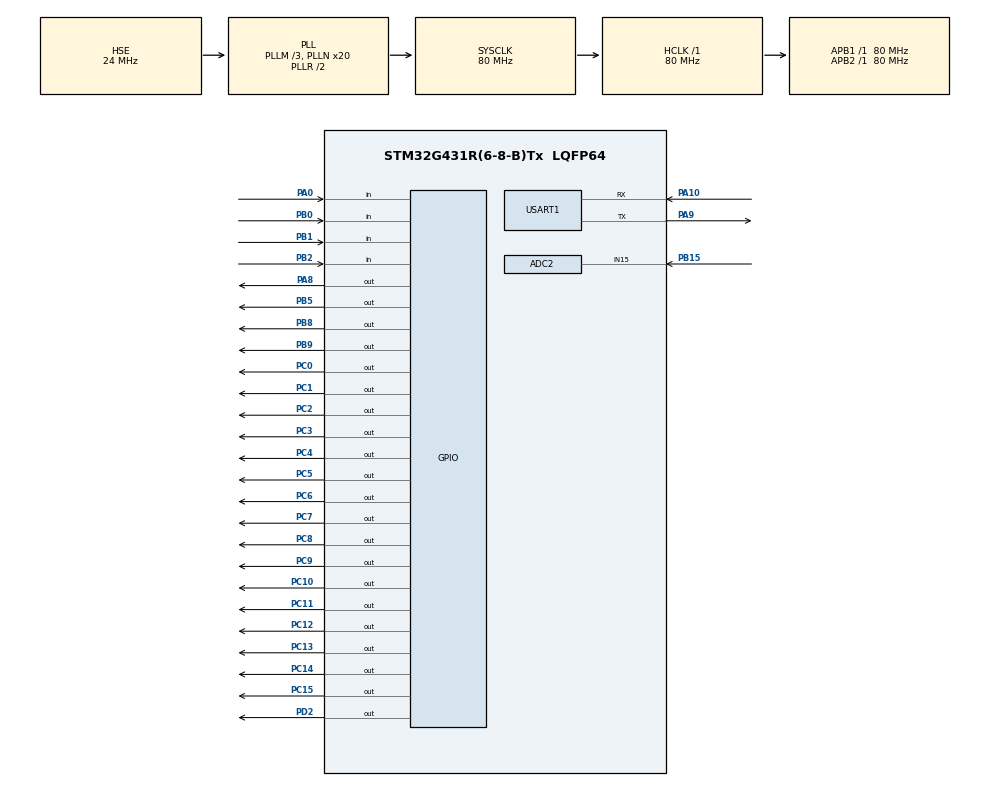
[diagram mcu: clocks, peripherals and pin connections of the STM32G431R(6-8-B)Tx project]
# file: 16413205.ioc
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ADC2.Channel-0\#ChannelRegularConversion=ADC_CHANNEL_15
ADC2.NbrOfConversionFlag=1
ADC2.OffsetNumber-0\#ChannelRegularConversion=ADC_OFFSET_NONE
ADC2.Rank-0\#ChannelRegularConversion=1
ADC2.SamplingTime-0\#ChannelRegularConversion=ADC_SAMPLETIME_640CYCLES_5
Dma.Request0=USART1_RX
Dma.Request1=USART1_TX
Dma.USART1_RX.0.Direction=DMA_PERIPH_TO_MEMORY
Dma.USART1_RX.0.EventEnable=DISABLE
Dma.USART1_RX.0.Instance=DMA1_Channel1
Dma.USART1_RX.0.MemDataAlignment=DMA_MDATAALIGN_BYTE
Dma.USART1_RX.0.MemInc=DMA_MINC_ENABLE
Dma.USART1_RX.0.Mode=DMA_NORMAL
Dma.USART1_RX.0.PeriphDataAlignment=DMA_PDATAALIGN_BYTE
Dma.USART1_RX.0.PeriphInc=DMA_PINC_DISABLE
Dma.USART1_RX.0.Polarity=HAL_DMAMUX_REQ_GEN_RISING
Dma.USART1_RX.0.Priority=DMA_PRIORITY_LOW
Dma.USART1_RX.0.RequestNumber=1
Dma.USART1_RX.0.SignalID=NONE
Dma.USART1_RX.0.SyncEnable=DISABLE
Dma.USART1_RX.0.SyncPolarity=HAL_DMAMUX_SYNC_NO_EVENT
Dma.USART1_RX.0.SyncRequestNumber=1
Dma.USART1_RX.0.SyncSignalID=NONE
Dma.USART1_TX.1.Direction=DMA_MEMORY_TO_PERIPH
Dma.USART1_TX.1.EventEnable=DISABLE
Dma.USART1_TX.1.Instance=DMA1_Channel2
Dma.USART1_TX.1.MemDataAlignment=DMA_MDATAALIGN_BYTE
Dma.USART1_TX.1.MemInc=DMA_MINC_ENABLE
Dma.USART1_TX.1.Mode=DMA_NORMAL
Dma.USART1_TX.1.PeriphDataAlignment=DMA_PDATAALIGN_BYTE
Dma.USART1_TX.1.PeriphInc=DMA_PINC_DISABLE
Dma.USART1_TX.1.Polarity=HAL_DMAMUX_REQ_GEN_RISING
Dma.USART1_TX.1.Priority=DMA_PRIORITY_LOW
Dma.USART1_TX.1.RequestNumber=1
Dma.USART1_TX.1.SignalID=NONE
Dma.USART1_TX.1.SyncEnable=DISABLE
Dma.USART1_TX.1.SyncPolarity=HAL_DMAMUX_SYNC_NO_EVENT
Dma.USART1_TX.1.SyncRequestNumber=1
Dma.USART1_TX.1.SyncSignalID=NONE
Mcu.Family=STM32G4
Mcu.Name=STM32G431R(6-8-B)Tx
Mcu.Package=LQFP64
NVIC.DMA1_Channel1_IRQn=true\:0\:0\:false\:false\:true\:false\:true\:true
NVIC.DMA1_Channel2_IRQn=true\:0\:0\:false\:false\:true\:false\:true\:true
NVIC.PriorityGroup=NVIC_PRIORITYGROUP_4
NVIC.TIM6_DAC_IRQn=true\:0\:0\:false\:false\:true\:true\:true\:true
NVIC.USART1_IRQn=true\:0\:0\:false\:false\:true\:true\:true\:true
PA0.GPIO_PuPd=GPIO_PULLUP
PA0.Signal=GPIO_Input
PA10.Mode=Asynchronous
PA10.Signal=USART1_RX
PA13.Mode=Serial_Wire
PA13.Signal=SYS_JTMS-SWDIO
PA14.Mode=Serial_Wire
PA14.Signal=SYS_JTCK-SWCLK
PA8.Signal=GPIO_Output
PA9.Mode=Asynchronous
PA9.Signal=USART1_TX
PB0.GPIO_PuPd=GPIO_PULLUP
PB0.Signal=GPIO_Input
PB1.GPIO_PuPd=GPIO_PULLUP
PB1.Signal=GPIO_Input
PB15.Mode=IN15-Single-Ended
PB15.Signal=ADC2_IN15
PB2.GPIO_PuPd=GPIO_PULLUP
PB2.Signal=GPIO_Input
PB5.Signal=GPIO_Output
PB8-BOOT0.Signal=GPIO_Output
PB9.Signal=GPIO_Output
PC0.Signal=GPIO_Output
PC1.Signal=GPIO_Output
PC10.Signal=GPIO_Output
PC11.Signal=GPIO_Output
PC12.Signal=GPIO_Output
PC13.Signal=GPIO_Output
PC14-OSC32_IN.Signal=GPIO_Output
PC15-OSC32_OUT.Signal=GPIO_Output
PC2.Signal=GPIO_Output
PC3.Signal=GPIO_Output
PC4.Signal=GPIO_Output
PC5.Signal=GPIO_Output
PC6.Signal=GPIO_Output
PC7.Signal=GPIO_Output
PC8.Signal=GPIO_Output
PC9.Signal=GPIO_Output
PD2.Signal=GPIO_Output
PF0-OSC_IN.Mode=HSE-External-Oscillator
PF0-OSC_IN.Signal=RCC_OSC_IN
PF1-OSC_OUT.Mode=HSE-External-Oscillator
PF1-OSC_OUT.Signal=RCC_OSC_OUT
ProjectManager.HeapSize=0x200
ProjectManager.StackSize=0x400
ProjectManager.TargetToolchain=MDK-ARM V5.32
RCC.ADC12Freq_Value=80000000
RCC.AHBFreq_Value=80000000
RCC.APB1Freq_Value=80000000
RCC.APB1TimFreq_Value=80000000
RCC.APB2Freq_Value=80000000
RCC.APB2TimFreq_Value=80000000
RCC.CortexFreq_Value=80000000
RCC.EXTERNAL_CLOCK_VALUE=12288000
RCC.HCLKFreq_Value=80000000
RCC.HSE_VALUE=24000000
RCC.HSI48_VALUE=48000000
RCC.HSI_VALUE=16000000
RCC.LSE_VALUE=32768
RCC.PLLM=RCC_PLLM_DIV3
RCC.PLLN=20
RCC.PLLSourceVirtual=RCC_PLLSOURCE_HSE
RCC.SYSCLKFreq_VALUE=80000000
RCC.SYSCLKSource=RCC_SYSCLKSOURCE_PLLCLK
RCC.USBFreq_Value=80000000
RCC.VCOOutputFreq_Value=160000000
TIM6.PeriodNoDither=10000-1
TIM6.Prescaler=8000-1
USART1.VirtualMode-Asynchronous=VM_ASYNC
VP_SYS_VS_DBSignals.Mode=DisableDeadBatterySignals
VP_TIM6_VS_ClockSourceINT.Mode=Enable_Timer
board=custom

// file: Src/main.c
/* USER CODE BEGIN Header */
/**
  ******************************************************************************
  * @file           : main.c
  * @brief          : Main program body
  ******************************************************************************
  * @attention
  *
  * Copyright (c) 2025 STMicroelectronics.
  * All rights reserved.
  *
  * This software is licensed under terms that can be found in the LICENSE file
  * in the root directory of this software component.
  * If no LICENSE file comes with this software, it is provided AS-IS.
  *
  ******************************************************************************
  */
/* USER CODE END Header */
#include "main.h"
#include "adc.h"
#include "dma.h"
#include "tim.h"
#include "usart.h"
#include "gpio.h"

/* USER CODE BEGIN Includes */
#include "lcd.h"
#include "stdio.h"
#include "string.h"

/* USER CODE END Includes */

/* USER CODE BEGIN PTD */
uint8_t RX_BUFF[20];
uint8_t RX_stand;
uint8_t stc;
uint8_t RX_start;
uint8_t state;
char buf[30];
float adc_value;
double adc_Value;
uint8_t mode;   //模式的切换
uint8_t start_stop;
uint8_t RX_BUF[20];   //串口数据缓冲区
uint8_t stand;    //串口接收标志位
char  REC_buf[10]={'2','5','1','2'};  //最大数据缓冲区
uint8_t CNT;    //定时器标志位
uint8_t cnt;     //计数值
uint8_t ucled;    //LED变量

/* USER CODE END PTD */

void SystemClock_Config(void);
/* USER CODE BEGIN PFP */
//重定义函数
int fputc(int ch,FILE *f)
{
  HAL_UART_Transmit(&huart1,(uint8_t *)&ch,1,50);
  return ch;
}
//LED
void led_display(uint8_t led)
{
   HAL_GPIO_WritePin(GPIOD,GPIO_PIN_2,1);
	 HAL_GPIO_WritePin(GPIOC,GPIO_PIN_8|GPIO_PIN_9|GPIO_PIN_10|GPIO_PIN_11|GPIO_PIN_12
	|GPIO_PIN_13|GPIO_PIN_14|GPIO_PIN_15,1);
	HAL_GPIO_WritePin(GPIOC,led<<8,0);
	HAL_GPIO_WritePin(GPIOD,GPIO_PIN_2,0);
}
//anjianshaoiao
uint8_t key_scan()
{
   static uint8_t KEY=1;
	if(KEY==1&&(HAL_GPIO_ReadPin(GPIOB,GPIO_PIN_0)==0||HAL_GPIO_ReadPin(GPIOB,GPIO_PIN_1)==0||HAL_GPIO_ReadPin(GPIOB,GPIO_PIN_2)==0||HAL_GPIO_ReadPin(GPIOA,GPIO_PIN_0)==0))
	{
	  KEY=0;
		HAL_Delay(10);
	  if(HAL_GPIO_ReadPin(GPIOB,GPIO_PIN_0)==0)
		{
	    return 1;
		}
		if(HAL_GPIO_ReadPin(GPIOB,GPIO_PIN_1)==0)
		{
	    return 2;
		}
		if(HAL_GPIO_ReadPin(GPIOB,GPIO_PIN_2)==0)
		{
	    return 3;
		}
		if(HAL_GPIO_ReadPin(GPIOA,GPIO_PIN_0)==0)
		{
	    return 4;
		}
	}
	if(KEY==0&&HAL_GPIO_ReadPin(GPIOB,GPIO_PIN_0)==1&&HAL_GPIO_ReadPin(GPIOB,GPIO_PIN_1)==1&&HAL_GPIO_ReadPin(GPIOB,GPIO_PIN_2)==1&&HAL_GPIO_ReadPin(GPIOA,GPIO_PIN_0)==1)
	{
	KEY=1;
	}
   return 0;
}
//LCD
void lcd_show()
{
   switch(state)
	 {
		 case 0:
			 switch(mode)
			 {
				 case 0:
					 LCD_DisplayStringLine(Line1,(uint8_t *)"       DATA         ");
		       sprintf(buf,"       R37:%.2f",adc_Value);
		       LCD_DisplayStringLine(Line3,(uint8_t *)buf);
		       sprintf(buf,"       MODE:KEY        ");
		       LCD_DisplayStringLine(Line4,(uint8_t *)buf);
		       sprintf(buf,"       COUNT:%d  ",cnt);
		       LCD_DisplayStringLine(Line5,(uint8_t *)buf);
					 break;
				 case 1:
					 LCD_DisplayStringLine(Line1,(uint8_t *)"       DATA         ");
		       sprintf(buf,"       R37:%.2f",adc_Value);
		       LCD_DisplayStringLine(Line3,(uint8_t *)buf);
		       sprintf(buf,"       MODE:UART        ");
		       LCD_DisplayStringLine(Line4,(uint8_t *)buf);
		       sprintf(buf,"       COUNT:%d  ",cnt);
		       LCD_DisplayStringLine(Line5,(uint8_t *)buf);
					 break;
				 default:
					 break;
			 }

			 break;
		 case 1:
			  LCD_DisplayStringLine(Line1,(uint8_t *)"       PARA         ");
		   sprintf(buf,"       VMAX:%.1f     ",((REC_buf[0]-48)*10.0+REC_buf[1]-48)/10.0);
		   LCD_DisplayStringLine(Line3,(uint8_t *)buf);
		   sprintf(buf,"       VMIN:%.1f        ",((REC_buf[2]-48)*10.0+REC_buf[3]-48)/10.0);
		   LCD_DisplayStringLine(Line4,(uint8_t *)buf);
		   sprintf(buf,"                       ");
		   LCD_DisplayStringLine(Line5,(uint8_t *)buf);
			 break;
		 default:
			 break;
	 }
}
//按键处理函数
void key_pro(uint8_t Key)//
{
    switch(Key)
		{
			case 1:
				state++;
			  if(state>1)
				{
					state=0;
				}
				break;
			case 2:
				mode++;
			  if(mode>1)
				{
				mode=0;
				}
				break;
			case 3:
				HAL_UART_Transmit(&huart1,RX_BUF,5,10);
				break;
			case 4:
				start_stop++;
			if(start_stop>1)
			{
				start_stop=0;
			}
				break;
			default:
				break;
		}
}
//adc处理函数
void ADC_pro()
{
	if(start_stop==0)
	{
	HAL_ADC_Stop(&hadc2);
	}
	else
	{
	HAL_ADC_Start(&hadc2);
	}
	adc_value=HAL_ADC_GetValue(&hadc2);
	adc_Value=adc_value*3.3/4096;
}
//串口数据处理函数
void UART_pro()
{
  if(stand==1)
		{
		if(mode==1)
		{
		if(strstr((char*)RX_BUF,"STATE"))
		{
		  start_stop=1;
		}
		if(strstr((char*)RX_BUF,"END"))
		{
		start_stop=0;
		}
	 }
   else
	 {
		   printf("ERROR");
	 }
	 if(strstr((char*)RX_BUF,"V")&&strstr((char*)RX_BUF,","))
	 {
		   REC_buf[0]=RX_BUF[0];
			 REC_buf[1]=RX_BUF[2];
			 REC_buf[2]=RX_BUF[5];
			 REC_buf[3]=RX_BUF[7];

	 }
	 stand=0;
//	 sprintf((char*)RX_BUFF,"receive:%s\r\n",(char*)REC_buf);
//	 HAL_UART_Transmit_DMA(&huart1,RX_BUFF,strlen((char*)RX_BUFF));
	 memset(RX_BUF,0,20);
 }
}
//计数函数
void CNT_pro()
{
  if(CNT==1&&adc_Value>((REC_buf[0]-48)*10.0+REC_buf[1]-48)/10.0)
	{
	   cnt++;
		 CNT=0;
	}
	if(CNT==1&&adc_Value<((REC_buf[2]-48)*10.0+REC_buf[3]-48)/10.0)
	{
	  cnt+=2;
		CNT=0;
	}
}
//LED处理函数
void LED_pro()
{
   if(state==0)
	 {
	   ucled |=0x01;//点亮led1
	 }
	 else
	 {
	 ucled &=~0x01;   //熄灭led1
	 }
	 if(state==1)
	 {
	   ucled |=0x02;//点亮led2
	 }
	 else
	 {
	 ucled &=~0x02;   //熄灭led2
	 }
	 if(cnt>3)
	 {
	    ucled |=0x04;//点亮led3
	 }
	 else
	 {
	  ucled &=~0x04;   //熄灭led3
	 }
	 if(mode==1)
	 {
	   ucled |=0x80;//点亮led8
	 }
	 else
	 {
	 ucled &=~0x80;   //熄灭led8
	 }
	led_display(ucled);
}
/* USER CODE END PFP */

int main(void)
{

  /* MCU Configuration--------------------------------------------------------*/

  /* Reset of all peripherals, Initializes the Flash interface and the Systick. */
  HAL_Init();

  /* Configure the system clock */
  SystemClock_Config();

  /* Initialize all configured peripherals */
  MX_GPIO_Init();
  MX_DMA_Init();
  MX_USART1_UART_Init();
  MX_ADC2_Init();
  MX_TIM6_Init();
  /* USER CODE BEGIN 2 */
	LCD_Init();
	LCD_Clear(Black);
	LCD_SetBackColor(Black);
	LCD_SetTextColor(White);
	HAL_ADCEx_Calibration_Start(&hadc2,ADC_SINGLE_ENDED);  ///校准ADC
  HAL_UARTEx_ReceiveToIdle_DMA(&huart1,RX_BUF,20);
  HAL_TIM_Base_Start_IT(&htim6);

  /* USER CODE END 2 */

  /* Infinite loop */
  /* USER CODE BEGIN WHILE */
  while (1)
  {

//		printf("111\r\n");
//		HAL_Delay(100);
	uint8_t KEy;
	  lcd_show();
		KEy=key_scan();
		key_pro(KEy);
		ADC_pro();
		UART_pro();
		CNT_pro();
		LED_pro();

    /* USER CODE END WHILE */

  }
}

void SystemClock_Config(void)
{
  RCC_OscInitTypeDef RCC_OscInitStruct = {0};
  RCC_ClkInitTypeDef RCC_ClkInitStruct = {0};

  /** Configure the main internal regulator output voltage
  */
  HAL_PWREx_ControlVoltageScaling(PWR_REGULATOR_VOLTAGE_SCALE1);

  /** Initializes the RCC Oscillators according to the specified parameters
  * in the RCC_OscInitTypeDef structure.
  */
  RCC_OscInitStruct.OscillatorType = RCC_OSCILLATORTYPE_HSE;
  RCC_OscInitStruct.HSEState = RCC_HSE_ON;
  RCC_OscInitStruct.PLL.PLLState = RCC_PLL_ON;
  RCC_OscInitStruct.PLL.PLLSource = RCC_PLLSOURCE_HSE;
  RCC_OscInitStruct.PLL.PLLM = RCC_PLLM_DIV3;
  RCC_OscInitStruct.PLL.PLLN = 20;
  RCC_OscInitStruct.PLL.PLLP = RCC_PLLP_DIV2;
  RCC_OscInitStruct.PLL.PLLQ = RCC_PLLQ_DIV2;
  RCC_OscInitStruct.PLL.PLLR = RCC_PLLR_DIV2;
  if (HAL_RCC_OscConfig(&RCC_OscInitStruct) != HAL_OK)
  {
    Error_Handler();
  }

  /** Initializes the CPU, AHB and APB buses clocks
  */
  RCC_ClkInitStruct.ClockType = RCC_CLOCKTYPE_HCLK|RCC_CLOCKTYPE_SYSCLK
                              |RCC_CLOCKTYPE_PCLK1|RCC_CLOCKTYPE_PCLK2;
  RCC_ClkInitStruct.SYSCLKSource = RCC_SYSCLKSOURCE_PLLCLK;
  RCC_ClkInitStruct.AHBCLKDivider = RCC_SYSCLK_DIV1;
  RCC_ClkInitStruct.APB1CLKDivider = RCC_HCLK_DIV1;
  RCC_ClkInitStruct.APB2CLKDivider = RCC_HCLK_DIV1;

  if (HAL_RCC_ClockConfig(&RCC_ClkInitStruct, FLASH_LATENCY_2) != HAL_OK)
  {
    Error_Handler();
  }
}

/* USER CODE BEGIN 4 */
//串口接收函数
void HAL_UARTEx_RxEventCallback(UART_HandleTypeDef *huart, uint16_t Size)
{
   if(huart->Instance==USART1)
	 {
		 stand=1;
	   HAL_UARTEx_ReceiveToIdle_DMA(&huart1,RX_BUF,20);
	 }
}
//定时器回调函数
void HAL_TIM_PeriodElapsedCallback(TIM_HandleTypeDef *htim)
{
   if(htim->Instance==TIM6)
	 {
	     CNT=1;
	 }
}
/* USER CODE END 4 */

void Error_Handler(void)
{
  __disable_irq();
  while (1)
  {
  }
}
